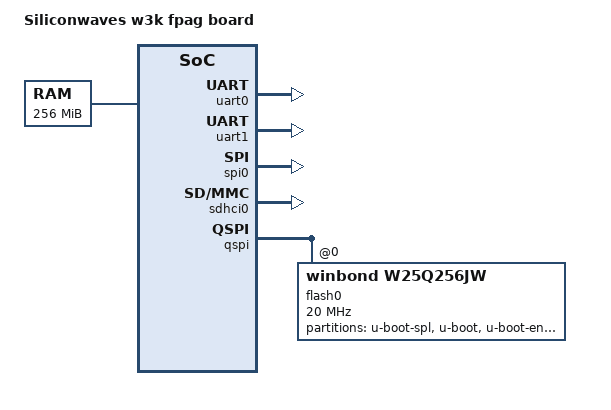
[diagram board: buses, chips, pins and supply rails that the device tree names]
// SPDX-License-Identifier: GPL-2.0+
/* Copyright (c) 2023-2024 Siliconwaves, Inc */

#include "wave3000.dtsi"
#include <dt-bindings/gpio/gpio.h>
#include <dt-bindings/interrupt-controller/irq.h>

/* Clock frequency (in Hz) of the PCB crystal for rtcclk */
#define RTCCLK_FREQ		18750000

/ {
	#address-cells = <2>;
	#size-cells = <2>;
	model = "Siliconwaves w3k fpag board";
	compatible = "siliconwaves,w3k-fpga";

	chosen {
		stdout-path = "serial0";
	};

	cpus {
		timebase-frequency = <RTCCLK_FREQ>;
	};

	memory@80000000 {
		device_type = "memory";
		reg = <0x0 0x80000000 0x0 0x10000000>;
	};

	soc {
	};

	rtcclk: rtcclk {
		#clock-cells = <0>;
		compatible = "fixed-clock";
		clock-frequency = <RTCCLK_FREQ>;
		clock-output-names = "rtcclk";
	};
};

&uart0 {
	status = "okay";
};

&uart1 {
	status = "okay";
};

&spi0 {
	status = "okay";
#if 0
	esp32@0 {
		compatible = "espressif,esp32-c6";
		reg = <0>;
		spi-max-frequency = <20000000>;
		handshake = <&gpio0 15 0>;
		reset = <&gpio0 17 0>;
		dataready = <&gpio0 16 0>;
	};
#endif
};

&sdhci0{
	status = "okay";
};

&qspi {
	status = "okay";
	flash0: w25q256jw@0 {
		#address-cells = <1>;
		#size-cells = <1>;
		compatible = "winbond,w25q256jw", "jedec,spi-nor";
		spi-max-frequency = <20000000>;
		partitions {
			compatible = "fixed-partitions";
			//128KB
			partition@0 {
				label = "u-boot-spl";
				reg = <0x0 0x20000>;
				read-only;
			};
			//1024KB
			partition@20000 {
				label = "u-boot";
				reg = <0x20000 0x100000>;
			};
			//64KB
			partition@120000 {
				label = "u-boot-env";
				reg = <0x120000 0x10000>;
			};
			//64KB
			factory: partition@130000 {
				label = "factory";
				reg = <0x130000 0x10000>;
			};
			partition@140000 {
				compatible = "denx,uimage";
				label = "firmware";
				reg = <0x140000 0x1EC0000>;
			};
		};
	};
};
